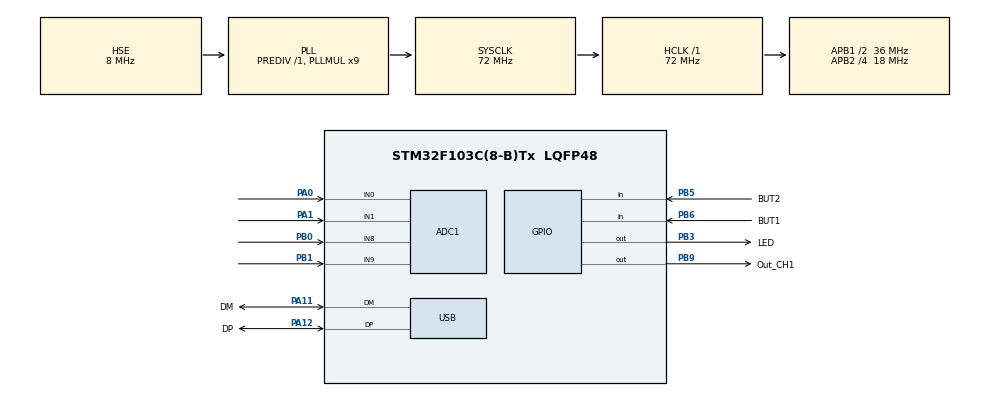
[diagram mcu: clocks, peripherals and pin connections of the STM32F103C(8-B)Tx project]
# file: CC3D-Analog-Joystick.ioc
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ADC1.Channel-72\#ChannelRegularConversion=ADC_CHANNEL_0
ADC1.ContinuousConvMode=DISABLE
ADC1.DataAlign=ADC_DATAALIGN_RIGHT
ADC1.DiscontinuousConvMode=DISABLE
ADC1.EnableAnalogWatchDog=false
ADC1.EnableRegularConversion=ENABLE
ADC1.ExternalTrigConv=ADC_SOFTWARE_START
ADC1.InjNumberOfConversion=0
ADC1.NbrOfConversion=1
ADC1.NbrOfConversionFlag=1
ADC1.Rank-72\#ChannelRegularConversion=1
ADC1.SamplingTime-72\#ChannelRegularConversion=ADC_SAMPLETIME_71CYCLES_5
ADC1.ScanConvMode=ADC_SCAN_DISABLE
ADC1.master=1
Mcu.Family=STM32F1
Mcu.Name=STM32F103C(8-B)Tx
Mcu.Package=LQFP48
NVIC.PriorityGroup=NVIC_PRIORITYGROUP_0
NVIC.USB_LP_CAN1_RX0_IRQn=true\:0\:0\:false\:false\:true\:false
PA0-WKUP.Signal=ADCx_IN0
PA1.Signal=ADCx_IN1
PA11.GPIO_Label=DM
PA11.Mode=Device
PA11.Signal=USB_DM
PA12.GPIO_Label=DP
PA12.Mode=Device
PA12.Signal=USB_DP
PB0.Signal=ADCx_IN8
PB1.Signal=ADCx_IN9
PB3.GPIO_Label=LED
PB3.PinState=GPIO_PIN_RESET
PB3.Signal=GPIO_Output
PB5.GPIO_Label=BUT2
PB5.GPIO_PuPd=GPIO_PULLDOWN
PB5.Signal=GPIO_Input
PB6.GPIO_Label=BUT1
PB6.GPIO_PuPd=GPIO_PULLDOWN
PB6.Signal=GPIO_Input
PB9.GPIO_Label=Out_CH1
PB9.PinState=GPIO_PIN_SET
PB9.Signal=GPIO_Output
PD0-OSC_IN.GPIO_Label=OSC_IN
PD0-OSC_IN.Mode=HSE-External-Oscillator
PD0-OSC_IN.Signal=RCC_OSC_IN
PD1-OSC_OUT.GPIO_Label=OSC_OUT
PD1-OSC_OUT.Mode=HSE-External-Oscillator
PD1-OSC_OUT.Signal=RCC_OSC_OUT
ProjectManager.HeapSize=0x200
ProjectManager.StackSize=0x400
ProjectManager.TargetToolchain=Makefile
RCC.ADCPresc=RCC_ADCPCLK2_DIV6
RCC.AHBFreq_Value=72000000
RCC.APB1CLKDivider=RCC_HCLK_DIV2
RCC.APB1Freq_Value=36000000
RCC.APB1TimFreq_Value=72000000
RCC.APB2CLKDivider=RCC_HCLK_DIV4
RCC.APB2Freq_Value=18000000
RCC.APB2TimFreq_Value=36000000
RCC.CortexFreq_Value=72000000
RCC.HCLKFreq_Value=72000000
RCC.HSE_VALUE=8000000
RCC.HSI_VALUE=8000000
RCC.LSE_VALUE=32768
RCC.PLLMUL=RCC_PLL_MUL9
RCC.PRESCALERUSB=RCC_USBCLKSOURCE_PLL_DIV1_5
RCC.SYSCLKFreq_VALUE=72000000
RCC.SYSCLKSource=RCC_SYSCLKSOURCE_PLLCLK
RCC.SYSCLKSourceVirtual=RCC_SYSCLKSOURCE_PLLCLK
RCC.USBFreq_Value=48000000
RCC.USBPrescaler=RCC_USBCLKSOURCE_PLL_DIV1_5
SH.ADCx_IN0.0=ADC1_IN0,IN0
SH.ADCx_IN1.0=ADC1_IN1,IN1
SH.ADCx_IN8.0=ADC1_IN8,IN8
SH.ADCx_IN9.0=ADC1_IN9,IN9
USB.ep0_mps=DEP0CTL_MPS_64
USB_DEVICE.CLASS_NAME_FS=HID
USB_DEVICE.MANUFACTURER_STRING=madmaxoft
USB_DEVICE.PID_HID_FS=0xeebb
USB_DEVICE.PRODUCT_STRING_HID_FS=CC3D Analog Joystick
USB_DEVICE.USBD_HandleTypeDef=hUsbDeviceFS
USB_DEVICE.VID=0xffaa
USB_DEVICE.VirtualMode=Hid
USB_DEVICE.VirtualModeFS=Hid_FS
VP_SYS_VS_ND.Mode=No_Debug
VP_USB_DEVICE_VS_USB_DEVICE_HID_FS.Mode=HID_FS
board=CC3D-Analog-Joystick

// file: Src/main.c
/**
  ******************************************************************************
  * File Name          : main.c
  * Description        : Main program body
  ******************************************************************************
  * This notice applies to any and all portions of this file
  * that are not between comment pairs USER CODE BEGIN and
  * USER CODE END. Other portions of this file, whether
  * inserted by the user or by software development tools
  * are owned by their respective copyright owners.
  *
  * Copyright (c) 2017 STMicroelectronics International N.V.
  * All rights reserved.
  *
  * Redistribution and use in source and binary forms, with or without
  * modification, are permitted, provided that the following conditions are met:
  *
  * 1. Redistribution of source code must retain the above copyright notice,
  *    this list of conditions and the following disclaimer.
  * 2. Redistributions in binary form must reproduce the above copyright notice,
  *    this list of conditions and the following disclaimer in the documentation
  *    and/or other materials provided with the distribution.
  * 3. Neither the name of STMicroelectronics nor the names of other
  *    contributors to this software may be used to endorse or promote products
  *    derived from this software without specific written permission.
  * 4. This software, including modifications and/or derivative works of this
  *    software, must execute solely and exclusively on microcontroller or
  *    microprocessor devices manufactured by or for STMicroelectronics.
  * 5. Redistribution and use of this software other than as permitted under
  *    this license is void and will automatically terminate your rights under
  *    this license.
  *
  * THIS SOFTWARE IS PROVIDED BY STMICROELECTRONICS AND CONTRIBUTORS "AS IS"
  * AND ANY EXPRESS, IMPLIED OR STATUTORY WARRANTIES, INCLUDING, BUT NOT
  * LIMITED TO, THE IMPLIED WARRANTIES OF MERCHANTABILITY, FITNESS FOR A
  * PARTICULAR PURPOSE AND NON-INFRINGEMENT OF THIRD PARTY INTELLECTUAL PROPERTY
  * RIGHTS ARE DISCLAIMED TO THE FULLEST EXTENT PERMITTED BY LAW. IN NO EVENT
  * SHALL STMICROELECTRONICS OR CONTRIBUTORS BE LIABLE FOR ANY DIRECT, INDIRECT,
  * INCIDENTAL, SPECIAL, EXEMPLARY, OR CONSEQUENTIAL DAMAGES (INCLUDING, BUT NOT
  * LIMITED TO, PROCUREMENT OF SUBSTITUTE GOODS OR SERVICES; LOSS OF USE, DATA,
  * OR PROFITS; OR BUSINESS INTERRUPTION) HOWEVER CAUSED AND ON ANY THEORY OF
  * LIABILITY, WHETHER IN CONTRACT, STRICT LIABILITY, OR TORT (INCLUDING
  * NEGLIGENCE OR OTHERWISE) ARISING IN ANY WAY OUT OF THE USE OF THIS SOFTWARE,
  * EVEN IF ADVISED OF THE POSSIBILITY OF SUCH DAMAGE.
  *
  ******************************************************************************
  */
#include "main.h"
#include "stm32f1xx_hal.h"
#include "usb_device.h"

/* USER CODE BEGIN Includes */

#include "../Middlewares/ST/STM32_USB_Device_Library/Class/HID/Inc/usbd_hid.h"

/* USER CODE END Includes */

ADC_HandleTypeDef hadc1;

/* USER CODE BEGIN PV */
/* Private variables ---------------------------------------------------------*/

/** The raw values read from the ADC.
If g_IsDataComplete is nonzero, all the values in this array are valid and waiting to be sent to the USB. */
uint16_t g_AnalogValues[4];

/** Flag specifying if all the data in g_AnalogValues has finished reading. */
uint8_t g_IsDataComplete = 0;

/* USER CODE END PV */

void SystemClock_Config(void);
static void MX_GPIO_Init(void);
static void MX_ADC1_Init(void);

/* USER CODE BEGIN PFP */
/* Private function prototypes -----------------------------------------------*/

/* USER CODE END PFP */

/* USER CODE BEGIN 0 */

/** Performs self-calibration on the ADC. */
void calibrateAdc(void)
{
	if (HAL_ADCEx_Calibration_Start(&hadc1)!= HAL_OK)
	{
		_Error_Handler(__FILE__, __LINE__);
	}
}

/** Reads the 4 ADC channels and stores their values in the specified destination array. */
void readADC(uint16_t a_Dest[4])
{
	static uint32_t adcChannels[4] =
	{
		ADC_CHANNEL_0,
		ADC_CHANNEL_1,
		ADC_CHANNEL_8,
		ADC_CHANNEL_9,
	};
	for (uint8_t i = 0; i < 4; ++i)
	{
		/* Configure the channel */
		ADC_ChannelConfTypeDef channelConfig;
		channelConfig.Channel = adcChannels[i];
		channelConfig.Rank = 1;
		channelConfig.SamplingTime = ADC_SAMPLETIME_71CYCLES_5;
		if (HAL_ADC_ConfigChannel(&hadc1, &channelConfig) != HAL_OK)
		{
			_Error_Handler(__FILE__, __LINE__);
		}

		/* Start the conversion: */
		if (HAL_ADC_Start(&hadc1) != HAL_OK)
		{
			_Error_Handler(__FILE__, __LINE__);
		}

		/* Wait for the conversion to finish: */
		if (HAL_ADC_PollForConversion(&hadc1, HAL_MAX_DELAY) != HAL_OK)
		{
			_Error_Handler(__FILE__, __LINE__);
		}

		/* Read and store the converted value: */
		a_Dest[i] = HAL_ADC_GetValue(&hadc1) & 0x0fff;
	}
}

/** Returns the bitmask representing the GPIO button states. */
uint16_t readButtons(void)
{
	uint16_t res = 0;
	if (HAL_GPIO_ReadPin(BUT1_GPIO_Port, BUT1_Pin))
	{
		res |= 0x01;
	}
	if (HAL_GPIO_ReadPin(BUT2_GPIO_Port, BUT2_Pin))
	{
		res |= 0x02;
	}
	return res;
}

/** Sends the specified ADC values and GPIO button values as the USB HID data. */
void sendToUsb(uint16_t * a_AdcValues, uint16_t a_Buttons)
{
	/* Compose the USB data buffer: */
	static uint16_t usbData[5];  /* Must be static for USB to work with it. */
	usbData[3] = a_AdcValues[0];
	usbData[2] = 0x0fff - a_AdcValues[1];
	usbData[1] = a_AdcValues[2];
	usbData[0] = a_AdcValues[3];
	usbData[4] = a_Buttons;

	/* Send the data now: */
	USBD_HID_SendReport(&hUsbDeviceFS, (uint8_t *)usbData, sizeof(usbData));
}

/* USER CODE END 0 */

int main(void)
{

  /* MCU Configuration----------------------------------------------------------*/

  /* Reset of all peripherals, Initializes the Flash interface and the Systick. */
  HAL_Init();

  /* Configure the system clock */
  SystemClock_Config();

  /* Initialize all configured peripherals */
  MX_GPIO_Init();
  MX_USB_DEVICE_Init();
  MX_ADC1_Init();

  /* USER CODE BEGIN 2 */

	calibrateAdc();

  /* USER CODE END 2 */

  /* Infinite loop */
	while (1)
	{

  /* USER CODE BEGIN 3 */

		/* Read the ADC values: */
		uint16_t adcValues[4];
		readADC(adcValues);

		/* Read the GPIO buttons */
		uint16_t buttons = readButtons();

		/* Send the values through USB: */
		sendToUsb(adcValues, buttons);

		/* Wait for the USB to send the data upstream: */
		HAL_Delay(10);
	}

  /* USER CODE END 3 */

}

/** System Clock Configuration
*/
void SystemClock_Config(void)
{

  RCC_OscInitTypeDef RCC_OscInitStruct;
  RCC_ClkInitTypeDef RCC_ClkInitStruct;
  RCC_PeriphCLKInitTypeDef PeriphClkInit;

    /**Initializes the CPU, AHB and APB busses clocks
    */
  RCC_OscInitStruct.OscillatorType = RCC_OSCILLATORTYPE_HSE;
  RCC_OscInitStruct.HSEState = RCC_HSE_ON;
  RCC_OscInitStruct.HSEPredivValue = RCC_HSE_PREDIV_DIV1;
  RCC_OscInitStruct.HSIState = RCC_HSI_ON;
  RCC_OscInitStruct.PLL.PLLState = RCC_PLL_ON;
  RCC_OscInitStruct.PLL.PLLSource = RCC_PLLSOURCE_HSE;
  RCC_OscInitStruct.PLL.PLLMUL = RCC_PLL_MUL9;
  if (HAL_RCC_OscConfig(&RCC_OscInitStruct) != HAL_OK)
  {
    _Error_Handler(__FILE__, __LINE__);
  }

    /**Initializes the CPU, AHB and APB busses clocks
    */
  RCC_ClkInitStruct.ClockType = RCC_CLOCKTYPE_HCLK|RCC_CLOCKTYPE_SYSCLK
                              |RCC_CLOCKTYPE_PCLK1|RCC_CLOCKTYPE_PCLK2;
  RCC_ClkInitStruct.SYSCLKSource = RCC_SYSCLKSOURCE_PLLCLK;
  RCC_ClkInitStruct.AHBCLKDivider = RCC_SYSCLK_DIV1;
  RCC_ClkInitStruct.APB1CLKDivider = RCC_HCLK_DIV2;
  RCC_ClkInitStruct.APB2CLKDivider = RCC_HCLK_DIV4;

  if (HAL_RCC_ClockConfig(&RCC_ClkInitStruct, FLASH_LATENCY_2) != HAL_OK)
  {
    _Error_Handler(__FILE__, __LINE__);
  }

  PeriphClkInit.PeriphClockSelection = RCC_PERIPHCLK_ADC|RCC_PERIPHCLK_USB;
  PeriphClkInit.AdcClockSelection = RCC_ADCPCLK2_DIV6;
  PeriphClkInit.UsbClockSelection = RCC_USBCLKSOURCE_PLL_DIV1_5;
  if (HAL_RCCEx_PeriphCLKConfig(&PeriphClkInit) != HAL_OK)
  {
    _Error_Handler(__FILE__, __LINE__);
  }

    /**Configure the Systick interrupt time
    */
  HAL_SYSTICK_Config(HAL_RCC_GetHCLKFreq()/1000);

    /**Configure the Systick
    */
  HAL_SYSTICK_CLKSourceConfig(SYSTICK_CLKSOURCE_HCLK);

  /* SysTick_IRQn interrupt configuration */
  HAL_NVIC_SetPriority(SysTick_IRQn, 0, 0);
}

/* ADC1 init function */
static void MX_ADC1_Init(void)
{

  ADC_ChannelConfTypeDef sConfig;

    /**Common config
    */
  hadc1.Instance = ADC1;
  hadc1.Init.ScanConvMode = ADC_SCAN_DISABLE;
  hadc1.Init.ContinuousConvMode = DISABLE;
  hadc1.Init.DiscontinuousConvMode = DISABLE;
  hadc1.Init.ExternalTrigConv = ADC_SOFTWARE_START;
  hadc1.Init.DataAlign = ADC_DATAALIGN_RIGHT;
  hadc1.Init.NbrOfConversion = 1;
  if (HAL_ADC_Init(&hadc1) != HAL_OK)
  {
    _Error_Handler(__FILE__, __LINE__);
  }

    /**Configure Regular Channel
    */
  sConfig.Channel = ADC_CHANNEL_0;
  sConfig.Rank = 1;
  sConfig.SamplingTime = ADC_SAMPLETIME_71CYCLES_5;
  if (HAL_ADC_ConfigChannel(&hadc1, &sConfig) != HAL_OK)
  {
    _Error_Handler(__FILE__, __LINE__);
  }

}

/** Configure pins as
        * Analog
        * Input
        * Output
        * EVENT_OUT
        * EXTI
*/
static void MX_GPIO_Init(void)
{

  GPIO_InitTypeDef GPIO_InitStruct;

  /* GPIO Ports Clock Enable */
  __HAL_RCC_GPIOD_CLK_ENABLE();
  __HAL_RCC_GPIOA_CLK_ENABLE();
  __HAL_RCC_GPIOB_CLK_ENABLE();

  /*Configure GPIO pin Output Level */
  HAL_GPIO_WritePin(LED_GPIO_Port, LED_Pin, GPIO_PIN_RESET);

  /*Configure GPIO pin Output Level */
  HAL_GPIO_WritePin(Out_CH1_GPIO_Port, Out_CH1_Pin, GPIO_PIN_SET);

  /*Configure GPIO pins : LED_Pin Out_CH1_Pin */
  GPIO_InitStruct.Pin = LED_Pin|Out_CH1_Pin;
  GPIO_InitStruct.Mode = GPIO_MODE_OUTPUT_PP;
  GPIO_InitStruct.Speed = GPIO_SPEED_FREQ_LOW;
  HAL_GPIO_Init(GPIOB, &GPIO_InitStruct);

  /*Configure GPIO pins : BUT2_Pin BUT1_Pin */
  GPIO_InitStruct.Pin = BUT2_Pin|BUT1_Pin;
  GPIO_InitStruct.Mode = GPIO_MODE_INPUT;
  GPIO_InitStruct.Pull = GPIO_PULLDOWN;
  HAL_GPIO_Init(GPIOB, &GPIO_InitStruct);

}

void _Error_Handler(char * file, int line)
{
  /* USER CODE BEGIN Error_Handler_Debug */
  /* User can add his own implementation to report the HAL error return state */
  while(1)
  {
	HAL_GPIO_TogglePin(LED_GPIO_Port, LED_Pin);
	HAL_Delay(100);
  }
  /* USER CODE END Error_Handler_Debug */
}

/************************ (C) COPYRIGHT STMicroelectronics *****END OF FILE****/
